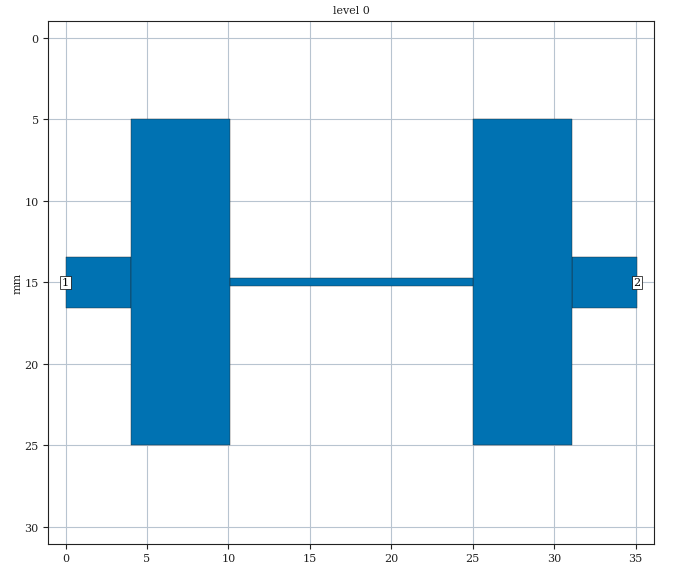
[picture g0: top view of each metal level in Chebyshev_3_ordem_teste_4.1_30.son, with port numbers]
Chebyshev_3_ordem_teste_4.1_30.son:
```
FTYP SONPROJ 13 ! Sonnet Project File
VER 15.53.lite
HEADER
LIC SL290709.106431 847bebfebdba DESKTOP-1CMJ3DP Arihe
DAT 06/10/2019 22:00:38
BUILT_BY_CREATED xgeom 15.53-Lite 04/13/2019 20:59:13
BUILT_BY_SAVED xgeom 15.53-Lite
MDATE 06/10/2019 22:00:38
HDATE 06/10/2019 22:00:38
END HEADER
DIM
FREQ GHZ
RSVY OHMM
IND NH
LNG MM
ANG DEG
CON /OH
CAP PF
RES OH
END DIM
FREQ
ABS 1.0e-9 3.0 
END FREQ
CONTROL
ABS
OPTIONS  -dj 
SPEED 0
CACHE_ABS 1
TARG_ABS 300
Q_ACC N
END CONTROL
GEO
DRP1 LEFT LINK
POLY 12 1
1
DRP1 RIGHT LINK
POLY 14 1
0
TMET "Lossless" 0 SUP 0 0 0 0
BMET "Lossless" 0 SUP 0 0 0 0
MET "Copper" 1 NOR 58000000 0 0.0347 
BOX 1 35.1 30 702 600 20 0
      20 1 1 0 0 0 0 "Air"
      1.5306 4.1 1 0.02 0 0 0 "FR-4"
LORGN 0 30 U 
POR1 STD
POLY 12 1
3
1 50 0 0 0 -3.549999995e-007 15 
POR1 STD
POLY 14 1
1
2 50 0 0 0 35.09999964 15 
NUM 5
0 5 0 N 12 1 1 100 100 0 0 0 Y
-3.549999995e-007 13.45
3.999999645 13.45
3.999999645 16.55
-3.549999995e-007 16.55
-3.549999995e-007 13.45
END
0 5 0 N 14 1 1 100 100 0 0 0 Y
31.09999964 13.45
35.09999964 13.45
35.09999964 16.55
31.09999964 16.55
31.09999964 13.45
END
0 5 0 N 16 1 1 100 100 0 0 0 Y
3.999999645 5
10.09999965 5
10.09999965 25
3.999999645 25
3.999999645 5
END
0 5 0 N 17 1 1 100 100 0 0 0 Y
24.99999964 5
31.09999965 5
31.09999965 25
24.99999964 25
24.99999964 5
END
0 5 0 N 18 1 1 100 100 0 0 0 Y
10.09999964 14.75
24.99999964 14.75
24.99999964 15.25
10.09999964 15.25
10.09999964 14.75
END
END GEO
OPT
MAX 100
VARS
END
END OPT
VARSWP
END VARSWP
QSG
IMPORT NO
EXTRA_METAL NO
UNITS YES
ALIGN NO
REF NO
VIEW_RES NO
METALS YES
USED YES
END QSG
```
